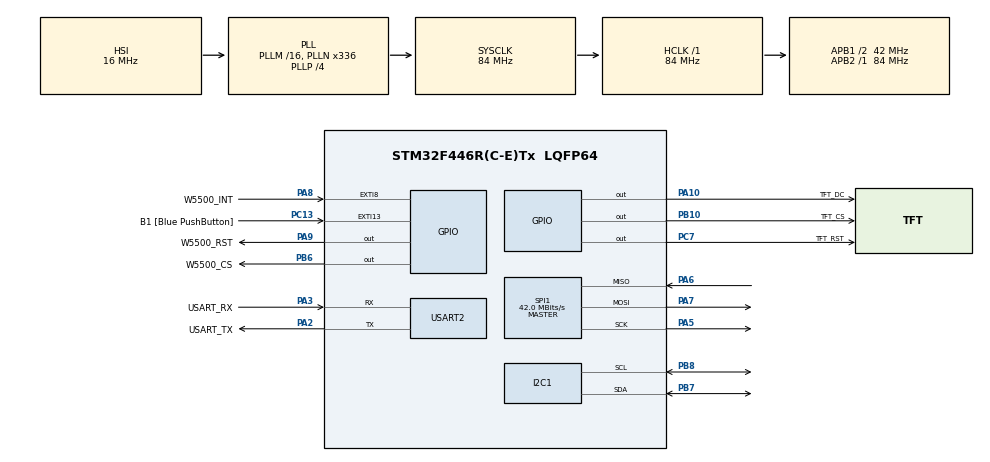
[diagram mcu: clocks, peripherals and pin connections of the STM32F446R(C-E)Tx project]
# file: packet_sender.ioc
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Mcu.Family=STM32F4
Mcu.Name=STM32F446R(C-E)Tx
Mcu.Package=LQFP64
NVIC.EXTI9_5_IRQn=true\:0\:0\:false\:false\:true\:true\:true\:true
NVIC.PriorityGroup=NVIC_PRIORITYGROUP_0
NVIC.TIM2_IRQn=true\:0\:1\:false\:false\:true\:true\:true\:true
PA10.GPIO_Label=TFT_DC
PA10.Signal=GPIO_Output
PA13.GPIO_Label=TMS
PA13.Signal=SYS_JTMS-SWDIO
PA14.GPIO_Label=TCK
PA14.Signal=SYS_JTCK-SWCLK
PA2.GPIO_Label=USART_TX
PA2.Mode=Asynchronous
PA2.Signal=USART2_TX
PA3.GPIO_Label=USART_RX
PA3.Mode=Asynchronous
PA3.Signal=USART2_RX
PA5.Mode=Full_Duplex_Master
PA5.Signal=SPI1_SCK
PA6.Mode=Full_Duplex_Master
PA6.Signal=SPI1_MISO
PA7.Mode=Full_Duplex_Master
PA7.Signal=SPI1_MOSI
PA8.GPIO_Label=W5500_INT
PA8.GPIO_ModeDefaultEXTI=GPIO_MODE_IT_FALLING
PA8.GPIO_PuPd=GPIO_PULLUP
PA8.Signal=GPXTI8
PA9.GPIO_Label=W5500_RST
PA9.Signal=GPIO_Output
PB10.GPIO_Label=TFT_CS
PB10.Signal=GPIO_Output
PB3.GPIO_Label=SWO
PB3.Signal=SYS_JTDO-SWO
PB6.GPIO_Label=W5500_CS
PB6.Signal=GPIO_Output
PB7.Mode=I2C
PB7.Signal=I2C1_SDA
PB8.Mode=I2C
PB8.Signal=I2C1_SCL
PC13.GPIO_Label=B1 [Blue PushButton]
PC13.GPIO_ModeDefaultEXTI=GPIO_MODE_IT_FALLING
PC13.Signal=GPXTI13
PC14-OSC32_IN.Signal=RCC_OSC32_IN
PC15-OSC32_OUT.Signal=RCC_OSC32_OUT
PC7.GPIO_Label=TFT_RST
PC7.Signal=GPIO_Output
PH0-OSC_IN.Signal=RCC_OSC_IN
PH1-OSC_OUT.Signal=RCC_OSC_OUT
ProjectManager.HeapSize=0x200
ProjectManager.StackSize=0x400
ProjectManager.TargetToolchain=STM32CubeIDE
RCC.AHBFreq_Value=84000000
RCC.APB1CLKDivider=RCC_HCLK_DIV2
RCC.APB1Freq_Value=42000000
RCC.APB1TimFreq_Value=84000000
RCC.APB2Freq_Value=84000000
RCC.APB2TimFreq_Value=84000000
RCC.CortexFreq_Value=84000000
RCC.FLatency-AdvancedSettings=FLASH_LATENCY_2
RCC.HCLKFreq_Value=84000000
RCC.HSE_VALUE=8000000
RCC.HSI_VALUE=16000000
RCC.LSE_VALUE=32768
RCC.PLLN=336
RCC.PLLP=RCC_PLLP_DIV4
RCC.SYSCLKFreq_VALUE=84000000
RCC.SYSCLKSource=RCC_SYSCLKSOURCE_PLLCLK
RCC.USBFreq_Value=168000000
RCC.VCOOutputFreq_Value=336000000
SPI1.CalculateBaudRate=42.0 MBits/s
SPI1.Direction=SPI_DIRECTION_2LINES
SPI1.Mode=SPI_MODE_MASTER
SPI1.VirtualType=VM_MASTER
TIM2.Period=0xffffffff
USART2.VirtualMode=VM_ASYNC
VP_TIM2_VS_ClockSourceINT.Mode=Internal
board=NUCLEO-F446RE

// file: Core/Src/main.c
/* USER CODE BEGIN Header */
/**
  ******************************************************************************
  * @file           : main.c
  * @brief          : Main program body
  ******************************************************************************
  * @attention
  *
  * Copyright (c) 2026 STMicroelectronics.
  * All rights reserved.
  *
  * This software is licensed under terms that can be found in the LICENSE file
  * in the root directory of this software component.
  * If no LICENSE file comes with this software, it is provided AS-IS.
  *
  ******************************************************************************
  */
/* USER CODE END Header */
#include "main.h"

I2C_HandleTypeDef hi2c1;

SPI_HandleTypeDef hspi1;

TIM_HandleTypeDef htim2;

UART_HandleTypeDef huart2;

void SystemClock_Config(void);
static void MX_GPIO_Init(void);
static void MX_SPI1_Init(void);
static void MX_I2C1_Init(void);
static void MX_TIM2_Init(void);
static void MX_USART2_UART_Init(void);
/* USER CODE BEGIN PFP */
void Display_Update(void);
/* USER CODE END PFP */

/* USER CODE BEGIN 0 */
#include "wizchip_conf.h"
#include "network.h"
#include "w5500.h"
#include "st7789.h"
#include "fonts.h"
#include <stdio.h>
#include <string.h>

void W5500_Select(void) {
    HAL_GPIO_WritePin(W5500_CS_GPIO_Port, W5500_CS_Pin, GPIO_PIN_RESET);
}

void W5500_Unselect(void) {
    HAL_GPIO_WritePin(W5500_CS_GPIO_Port, W5500_CS_Pin, GPIO_PIN_SET);
}

uint8_t W5500_ReadByte(void) {
    uint8_t byte;
    HAL_SPI_Receive(&hspi1, &byte, 1, HAL_MAX_DELAY);
    return byte;
}

void W5500_WriteByte(uint8_t byte) {
    HAL_SPI_Transmit(&hspi1, &byte, 1, HAL_MAX_DELAY);
}
/* USER CODE END 0 */

int main(void)
{

  /* MCU Configuration--------------------------------------------------------*/

  /* Reset of all peripherals, Initializes the Flash interface and the Systick. */
  HAL_Init();

  /* Configure the system clock */
  SystemClock_Config();

  /* Initialize all configured peripherals */
  MX_GPIO_Init();
  MX_SPI1_Init();
  MX_I2C1_Init();
  MX_TIM2_Init();
  MX_USART2_UART_Init();

  /* USER CODE BEGIN 2 */

    reg_wizchip_cs_cbfunc(W5500_Select, W5500_Unselect);
    reg_wizchip_spi_cbfunc(W5500_ReadByte, W5500_WriteByte);
    HAL_TIM_Base_Start(&htim2);

    ST7789_Init();
    HAL_Delay(100);

    ST7789_Fill_Color(BLACK);
    ST7789_WriteString(10, 10, "Booting...", Font_11x18, WHITE, BLACK);
    HAL_Delay(500);

    Network_Init();

    ST7789_WriteString(10, 35, "Network OK", Font_11x18, GREEN, BLACK);

    ST7789_Fill_Color(BLACK);
    ST7789_WriteString(10, 5, "LATENCY ANALYZER", Font_11x18, WHITE, BLACK);

    wiz_NetInfo netinfo;
    wizchip_getnetinfo(&netinfo);
    char ip_str[32];
    sprintf(ip_str, "IP:%d.%d.%d.%d",
        netinfo.ip[0], netinfo.ip[1],
        netinfo.ip[2], netinfo.ip[3]);
    ST7789_WriteString(10, 25, ip_str, Font_7x10, GRAY, BLACK);

  /* USER CODE END 2 */

  /* Infinite loop */
  while (1)
  {

    /* USER CODE BEGIN 3 */
    Network_RunRTT();
    Display_Update();
    HAL_Delay(20);
  }
  /* USER CODE END 3 */
}

void SystemClock_Config(void)
{
  RCC_OscInitTypeDef RCC_OscInitStruct = {0};
  RCC_ClkInitTypeDef RCC_ClkInitStruct = {0};

  /** Configure the main internal regulator output voltage
  */
  __HAL_RCC_PWR_CLK_ENABLE();
  __HAL_PWR_VOLTAGESCALING_CONFIG(PWR_REGULATOR_VOLTAGE_SCALE3);

  /** Initializes the RCC Oscillators according to the specified parameters
  * in the RCC_OscInitTypeDef structure.
  */
  RCC_OscInitStruct.OscillatorType = RCC_OSCILLATORTYPE_HSI;
  RCC_OscInitStruct.HSIState = RCC_HSI_ON;
  RCC_OscInitStruct.HSICalibrationValue = RCC_HSICALIBRATION_DEFAULT;
  RCC_OscInitStruct.PLL.PLLState = RCC_PLL_ON;
  RCC_OscInitStruct.PLL.PLLSource = RCC_PLLSOURCE_HSI;
  RCC_OscInitStruct.PLL.PLLM = 16;
  RCC_OscInitStruct.PLL.PLLN = 336;
  RCC_OscInitStruct.PLL.PLLP = RCC_PLLP_DIV4;
  RCC_OscInitStruct.PLL.PLLQ = 2;
  RCC_OscInitStruct.PLL.PLLR = 2;
  if (HAL_RCC_OscConfig(&RCC_OscInitStruct) != HAL_OK)
  {
    Error_Handler();
  }

  /** Initializes the CPU, AHB and APB buses clocks
  */
  RCC_ClkInitStruct.ClockType = RCC_CLOCKTYPE_HCLK|RCC_CLOCKTYPE_SYSCLK
                              |RCC_CLOCKTYPE_PCLK1|RCC_CLOCKTYPE_PCLK2;
  RCC_ClkInitStruct.SYSCLKSource = RCC_SYSCLKSOURCE_PLLCLK;
  RCC_ClkInitStruct.AHBCLKDivider = RCC_SYSCLK_DIV1;
  RCC_ClkInitStruct.APB1CLKDivider = RCC_HCLK_DIV2;
  RCC_ClkInitStruct.APB2CLKDivider = RCC_HCLK_DIV1;

  if (HAL_RCC_ClockConfig(&RCC_ClkInitStruct, FLASH_LATENCY_2) != HAL_OK)
  {
    Error_Handler();
  }
}

static void MX_I2C1_Init(void)
{

  hi2c1.Instance = I2C1;
  hi2c1.Init.ClockSpeed = 100000;
  hi2c1.Init.DutyCycle = I2C_DUTYCYCLE_2;
  hi2c1.Init.OwnAddress1 = 0;
  hi2c1.Init.AddressingMode = I2C_ADDRESSINGMODE_7BIT;
  hi2c1.Init.DualAddressMode = I2C_DUALADDRESS_DISABLE;
  hi2c1.Init.OwnAddress2 = 0;
  hi2c1.Init.GeneralCallMode = I2C_GENERALCALL_DISABLE;
  hi2c1.Init.NoStretchMode = I2C_NOSTRETCH_DISABLE;
  if (HAL_I2C_Init(&hi2c1) != HAL_OK)
  {
    Error_Handler();
  }

}

static void MX_SPI1_Init(void)
{

  /* SPI1 parameter configuration*/
  hspi1.Instance = SPI1;
  hspi1.Init.Mode = SPI_MODE_MASTER;
  hspi1.Init.Direction = SPI_DIRECTION_2LINES;
  hspi1.Init.DataSize = SPI_DATASIZE_8BIT;
  hspi1.Init.CLKPolarity = SPI_POLARITY_LOW;
  hspi1.Init.CLKPhase = SPI_PHASE_1EDGE;
  hspi1.Init.NSS = SPI_NSS_SOFT;
  hspi1.Init.BaudRatePrescaler = SPI_BAUDRATEPRESCALER_8;
  hspi1.Init.FirstBit = SPI_FIRSTBIT_MSB;
  hspi1.Init.TIMode = SPI_TIMODE_DISABLE;
  hspi1.Init.CRCCalculation = SPI_CRCCALCULATION_DISABLE;
  hspi1.Init.CRCPolynomial = 10;
  if (HAL_SPI_Init(&hspi1) != HAL_OK)
  {
    Error_Handler();
  }

}

static void MX_TIM2_Init(void)
{

  TIM_ClockConfigTypeDef sClockSourceConfig = {0};
  TIM_MasterConfigTypeDef sMasterConfig = {0};

  htim2.Instance = TIM2;
  htim2.Init.Prescaler = 0;
  htim2.Init.CounterMode = TIM_COUNTERMODE_UP;
  htim2.Init.Period = 0xffffffff;
  htim2.Init.ClockDivision = TIM_CLOCKDIVISION_DIV1;
  htim2.Init.AutoReloadPreload = TIM_AUTORELOAD_PRELOAD_DISABLE;
  if (HAL_TIM_Base_Init(&htim2) != HAL_OK)
  {
    Error_Handler();
  }
  sClockSourceConfig.ClockSource = TIM_CLOCKSOURCE_INTERNAL;
  if (HAL_TIM_ConfigClockSource(&htim2, &sClockSourceConfig) != HAL_OK)
  {
    Error_Handler();
  }
  sMasterConfig.MasterOutputTrigger = TIM_TRGO_RESET;
  sMasterConfig.MasterSlaveMode = TIM_MASTERSLAVEMODE_DISABLE;
  if (HAL_TIMEx_MasterConfigSynchronization(&htim2, &sMasterConfig) != HAL_OK)
  {
    Error_Handler();
  }

}

static void MX_USART2_UART_Init(void)
{

  huart2.Instance = USART2;
  huart2.Init.BaudRate = 115200;
  huart2.Init.WordLength = UART_WORDLENGTH_8B;
  huart2.Init.StopBits = UART_STOPBITS_1;
  huart2.Init.Parity = UART_PARITY_NONE;
  huart2.Init.Mode = UART_MODE_TX_RX;
  huart2.Init.HwFlowCtl = UART_HWCONTROL_NONE;
  huart2.Init.OverSampling = UART_OVERSAMPLING_16;
  if (HAL_UART_Init(&huart2) != HAL_OK)
  {
    Error_Handler();
  }

}

static void MX_GPIO_Init(void)
{
  GPIO_InitTypeDef GPIO_InitStruct = {0};

  /* GPIO Ports Clock Enable */
  __HAL_RCC_GPIOC_CLK_ENABLE();
  __HAL_RCC_GPIOH_CLK_ENABLE();
  __HAL_RCC_GPIOA_CLK_ENABLE();
  __HAL_RCC_GPIOB_CLK_ENABLE();

  /*Configure GPIO pin Output Level */
  HAL_GPIO_WritePin(GPIOB, TFT_CS_Pin|W5500_CS_Pin, GPIO_PIN_SET);

  /*Configure GPIO pin Output Level */
  HAL_GPIO_WritePin(TFT_RST_GPIO_Port, TFT_RST_Pin, GPIO_PIN_SET);

  /*Configure GPIO pin Output Level */
  HAL_GPIO_WritePin(GPIOA, W5500_RST_Pin|TFT_DC_Pin, GPIO_PIN_RESET);

  /*Configure GPIO pin : B1_Pin */
  GPIO_InitStruct.Pin = B1_Pin;
  GPIO_InitStruct.Mode = GPIO_MODE_IT_FALLING;
  GPIO_InitStruct.Pull = GPIO_NOPULL;
  HAL_GPIO_Init(B1_GPIO_Port, &GPIO_InitStruct);

  /*Configure GPIO pins : TFT_CS_Pin W5500_CS_Pin */
  GPIO_InitStruct.Pin = TFT_CS_Pin|W5500_CS_Pin;
  GPIO_InitStruct.Mode = GPIO_MODE_OUTPUT_PP;
  GPIO_InitStruct.Pull = GPIO_NOPULL;
  GPIO_InitStruct.Speed = GPIO_SPEED_FREQ_LOW;
  HAL_GPIO_Init(GPIOB, &GPIO_InitStruct);

  /*Configure GPIO pin : TFT_RST_Pin */
  GPIO_InitStruct.Pin = TFT_RST_Pin;
  GPIO_InitStruct.Mode = GPIO_MODE_OUTPUT_PP;
  GPIO_InitStruct.Pull = GPIO_NOPULL;
  GPIO_InitStruct.Speed = GPIO_SPEED_FREQ_LOW;
  HAL_GPIO_Init(TFT_RST_GPIO_Port, &GPIO_InitStruct);

  /*Configure GPIO pin : W5500_INT_Pin */
  GPIO_InitStruct.Pin = W5500_INT_Pin;
  GPIO_InitStruct.Mode = GPIO_MODE_IT_FALLING;
  GPIO_InitStruct.Pull = GPIO_PULLUP;
  HAL_GPIO_Init(W5500_INT_GPIO_Port, &GPIO_InitStruct);

  /*Configure GPIO pins : W5500_RST_Pin TFT_DC_Pin */
  GPIO_InitStruct.Pin = W5500_RST_Pin|TFT_DC_Pin;
  GPIO_InitStruct.Mode = GPIO_MODE_OUTPUT_PP;
  GPIO_InitStruct.Pull = GPIO_NOPULL;
  GPIO_InitStruct.Speed = GPIO_SPEED_FREQ_LOW;
  HAL_GPIO_Init(GPIOA, &GPIO_InitStruct);

  /* EXTI interrupt init*/
  HAL_NVIC_SetPriority(EXTI9_5_IRQn, 0, 0);
  HAL_NVIC_EnableIRQ(EXTI9_5_IRQn);

}

/* USER CODE BEGIN 4 */

// This callback is called by the HAL when an external interrupt occurs. We use it to detect when a packet is received from the W5500.
void HAL_GPIO_EXTI_Callback(uint16_t GPIO_Pin) {
    if(GPIO_Pin == W5500_INT_Pin) {
        rx_timestamp = __HAL_TIM_GET_COUNTER(&htim2);
        packet_received = 1;
        // Clear W5500 interrupt flag so INT pin goes HIGH again
        setSn_IR(0, Sn_IR_RECV);
    }
}
// Display update function to show stats on the TFT. Called after each RTT measurement.
void Display_Update(void) {

    // Stats — overwrite in place
    char rtt_str[32];
    char avg_str[32];
    char min_str[32];
    char max_str[32];
    char jit_str[32];
    char pkt_str[32];

    sprintf(rtt_str, "RTT: %7luus", rtt_stats.current_us);
    sprintf(avg_str, "AVG: %7luus", rtt_stats.mean_us);
    sprintf(min_str, "MIN: %7luus", rtt_stats.min_us);
    sprintf(max_str, "MAX: %7luus", rtt_stats.max_us);
    sprintf(jit_str, "JIT: %7luus", rtt_stats.stddev_us);
    sprintf(pkt_str, "PKT:%-6lu LOST:%-4lu", rtt_stats.packet_count, rtt_stats.lost_count);

    ST7789_WriteString(10, 55,  rtt_str, Font_11x18, CYAN,    BLACK);
    ST7789_WriteString(10, 75,  avg_str, Font_11x18, YELLOW,  BLACK);
    ST7789_WriteString(10, 95,  min_str, Font_11x18, GREEN,   BLACK);
    ST7789_WriteString(10, 115, max_str, Font_11x18, RED,     BLACK);
    ST7789_WriteString(10, 135, jit_str, Font_11x18, MAGENTA, BLACK);
    ST7789_WriteString(10, 155, pkt_str, Font_7x10,  WHITE,   BLACK);

    // Scrolling bar graph
  uint32_t graph_max = 1;
  for(int i = 0; i < 32; i++) {
      if(rtt_stats.samples[i] > graph_max)
          graph_max = rtt_stats.samples[i];
  }

  uint16_t graph_top    = 175;
  uint16_t graph_height = 60;
  uint16_t bar_width    = 7;

  for(int i = 0; i < 32; i++) {
      // Read samples in order starting from oldest
      // sample_index points to the NEXT write position = oldest sample
      uint8_t idx = (rtt_stats.sample_index + i) % 32;
      uint32_t sample = rtt_stats.samples[idx];

      uint16_t bar_h = (uint16_t)((sample * graph_height) / graph_max);
      if(bar_h < 1) bar_h = 1;

      uint16_t x = i * bar_width;
      uint16_t y = graph_top + (graph_height - bar_h);

      uint16_t color;
      if(sample <= rtt_stats.min_us + (rtt_stats.max_us - rtt_stats.min_us) / 3)
          color = GREEN;
      else if(sample <= rtt_stats.min_us + 2 * (rtt_stats.max_us - rtt_stats.min_us) / 3)
          color = YELLOW;
      else
          color = RED;

      ST7789_Fill(x, graph_top, x + bar_width - 1, graph_top + graph_height, BLACK);
      ST7789_Fill(x, y, x + bar_width - 1, graph_top + graph_height, color);
  }
}
/* USER CODE END 4 */

void Error_Handler(void)
{
  __disable_irq();
  while (1)
  {
  }
}
